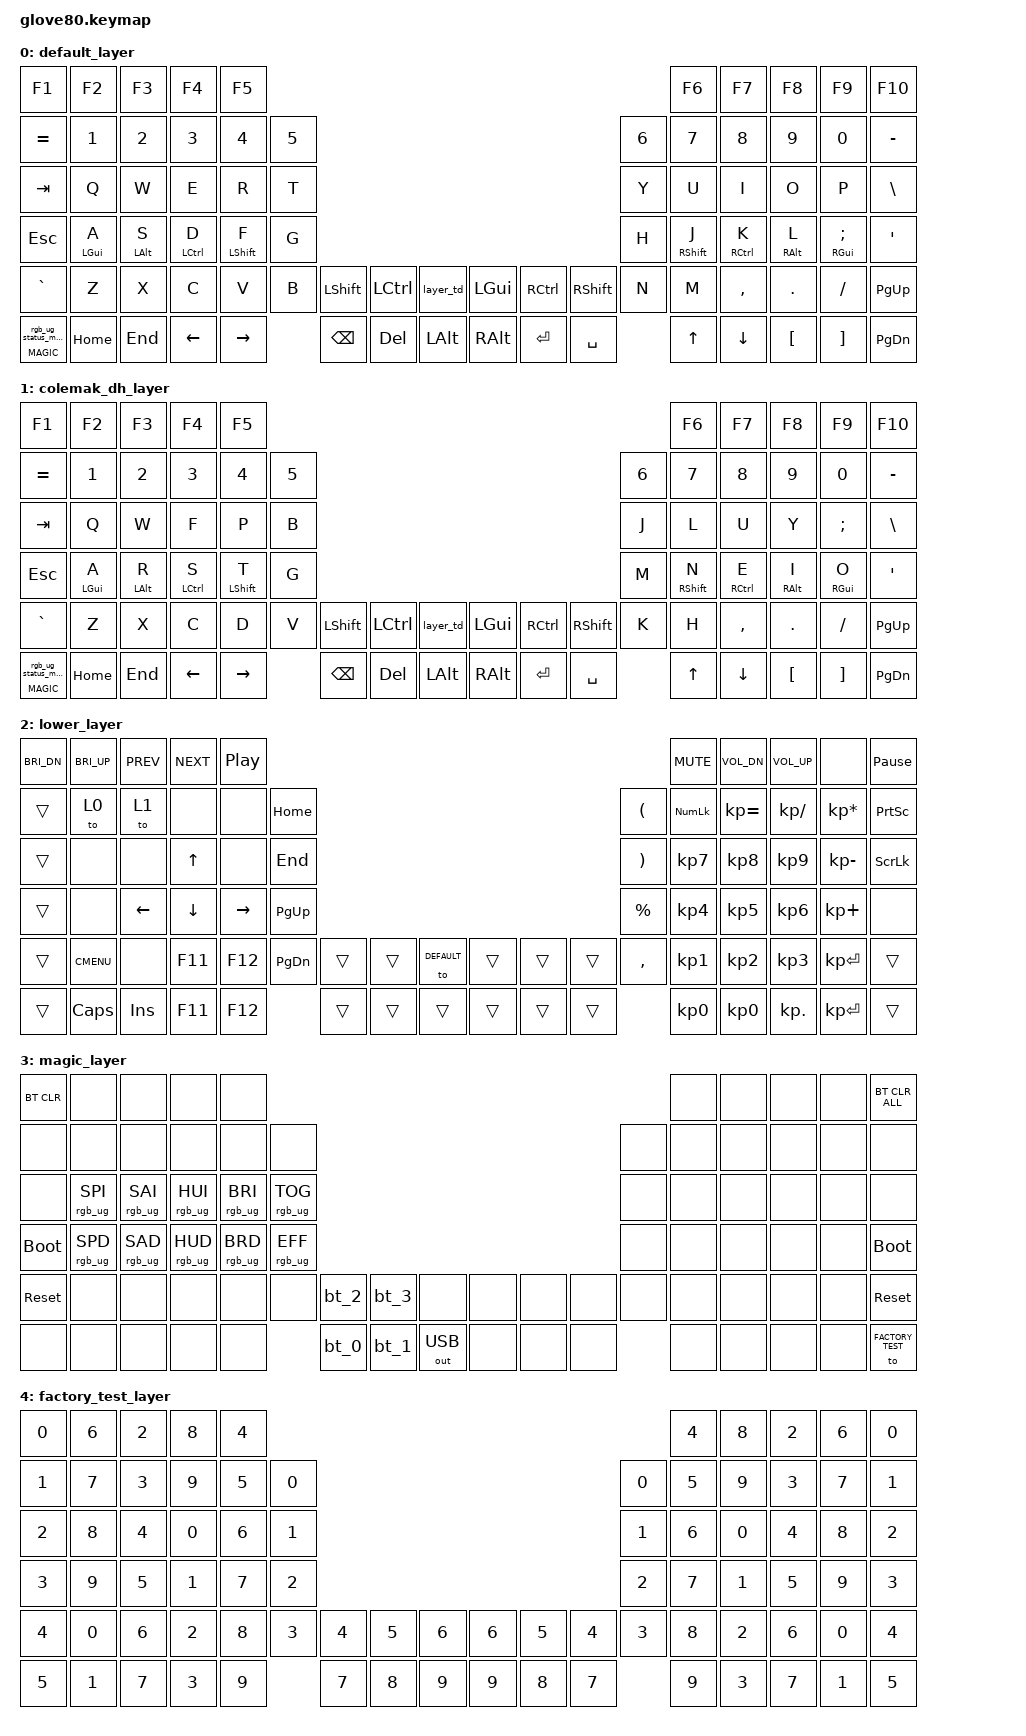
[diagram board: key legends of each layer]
/*
 * Copyright (c) 2020 The ZMK Contributors
 *
 * SPDX-License-Identifier: MIT
 */

#include <behaviors.dtsi>
#include <dt-bindings/zmk/keys.h>
#include <dt-bindings/zmk/bt.h>
#include <dt-bindings/zmk/ext_power.h>
#include <dt-bindings/zmk/outputs.h>
#include <dt-bindings/zmk/rgb.h>

#define HYPER LC(LS(LG(LALT)))

// layers
#define DEFAULT 0
#define COLEMAK_DH 1
#define LOWER 2
#define MAGIC 3
#define FACTORY_TEST 4

/ {
    behaviors {
        // For the "layer" key, it'd nice to be able to use it as either a shift or a toggle.
        // Configure it as a tap dance, so the first tap (or hold) is a &mo and the second tap is a &to
        layer_td: tap_dance_0 {
            compatible = "zmk,behavior-tap-dance";
            label = "LAYER_TAP_DANCE";
            #binding-cells = <0>;
            tapping-term-ms = <200>;
            bindings = <&mo LOWER>, <&to LOWER>;
        };

        magic: magic_hold_tap {
            compatible = "zmk,behavior-hold-tap";
            label = "MAGIC_HOLD_TAP";
            #binding-cells = <2>;
            flavor = "tap-preferred";
            tapping-term-ms = <200>;
            bindings = <&mo>, <&rgb_ug_status_macro>;
        };

        hrm: home_row_mods {
            compatible = "zmk,behavior-hold-tap";
            label = "HOME_ROW_MODS";
            #binding-cells = <2>;
            flavor = "balanced";
            tapping-term-ms = <200>;
            quick-tap-ms = <175>;
            require-prior-idle-ms = <125>;
            bindings = <&kp>, <&kp>;
        };
    };

    macros {
        rgb_ug_status_macro: rgb_ug_status_macro_0 {
            label = "RGB_UG_STATUS";
            compatible = "zmk,behavior-macro";
            #binding-cells = <0>;
            bindings
                = <&rgb_ug RGB_STATUS>;
        };

        bt_0: bt_profile_macro_0 {
            label = "BT_0";
            compatible = "zmk,behavior-macro";
            #binding-cells = <0>;
            bindings
                = <&out OUT_BLE>,
                  <&bt BT_SEL 0>;
        };

        bt_1: bt_profile_macro_1 {
            label = "BT_1";
            compatible = "zmk,behavior-macro";
            #binding-cells = <0>;
            bindings
                = <&out OUT_BLE>,
                  <&bt BT_SEL 1>;
        };

        bt_2: bt_profile_macro_2 {
            label = "BT_2";
            compatible = "zmk,behavior-macro";
            #binding-cells = <0>;
            bindings
                = <&out OUT_BLE>,
                  <&bt BT_SEL 2>;
        };

        bt_3: bt_profile_macro_3 {
            label = "BT_3";
            compatible = "zmk,behavior-macro";
            #binding-cells = <0>;
            bindings
                = <&out OUT_BLE>,
                  <&bt BT_SEL 3>;
        };
    };

    keymap {
        compatible = "zmk,keymap";

        default_layer {
            // ---------------------------------------------------------------------------------------------------------------------------------
            // |  F1   |  F2 |  F3 |  F4  |  F5  |                                                               |  F6   |  F7   |  F8  |   F9  |  F10 |
            // |  =    |  1  |  2  |  3   |  4   |  5   |                                                 |  6   |   7   |   8   |  9   |   0   |   -  |
            // |  TAB  |  Q  |  W  |  E   |  R   |  T   |                                                 |  Y   |   U   |   I   |  O   |   P   |   \  |
            // |  ESC  |  A  |  S  |  D   |  F   |  G   |                                                 |  H   |   J   |   K   |  L   |   ;   |   '  |
            // |   `   |  Z  |  X  |  C   |  V   |  B   | LSHFT | LCTRL | LOWER | | LGUI  | RCTRL | RSHFT |  N   |   M   |   ,   |  .   |   /   | PGUP |
            // | MAGIC | HOME| END | LEFT | RIGHT|      | BSPC  | DEL   | LALT  | | RALT  | RET   | SPACE |      |  UP   | DOWN  |  [   |   ]   | PGDN |

            bindings = <
            &kp F1         &kp F2      &kp F3      &kp F4       &kp F5                                                                                  &kp F6        &kp F7       &kp F8      &kp F9         &kp F10
            &kp EQUAL      &kp N1      &kp N2      &kp N3       &kp N4       &kp N5                                                             &kp N6  &kp N7        &kp N8       &kp N9      &kp N0         &kp MINUS
            &kp TAB        &kp Q       &kp W       &kp E        &kp R        &kp T                                                              &kp Y   &kp U         &kp I        &kp O       &kp P          &kp BSLH
            &kp ESC        &hrm LGUI A &hrm LALT S &hrm LCTRL D &hrm LSHFT F &kp G                                                              &kp H   &hrm RSHFT J  &hrm RCTRL K &hrm RALT L &hrm RGUI SEMI &kp SQT
            &kp GRAVE      &kp Z       &kp X       &kp C        &kp V        &kp B &kp LSHFT &kp LCTRL &layer_td   &kp LGUI &kp RCTRL &kp RSHFT &kp N   &kp M         &kp COMMA    &kp DOT     &kp FSLH       &kp PG_UP
            &magic MAGIC 0 &kp HOME    &kp END     &kp LEFT     &kp RIGHT          &kp BSPC  &kp DEL   &kp LALT    &kp RALT &kp RET   &kp SPACE         &kp UP        &kp DOWN     &kp LBKT    &kp RBKT       &kp PG_DN
            >;
        };
        
        colemak_dh_layer {
            bindings = <
            &kp F1         &kp F2      &kp F3      &kp F4       &kp F5                                                                                  &kp F6        &kp F7       &kp F8      &kp F9         &kp F10
            &kp EQUAL      &kp N1      &kp N2      &kp N3       &kp N4       &kp N5                                                             &kp N6  &kp N7        &kp N8       &kp N9      &kp N0         &kp MINUS
            &kp TAB        &kp Q       &kp W       &kp F        &kp P        &kp B                                                              &kp J   &kp L         &kp U        &kp Y       &kp SEMI       &kp BSLH
            &kp ESC        &hrm LGUI A &hrm LALT R &hrm LCTRL S &hrm LSHFT T &kp G                                                              &kp M   &hrm RSHFT N  &hrm RCTRL E &hrm RALT I &hrm RGUI O    &kp SQT
            &kp GRAVE      &kp Z       &kp X       &kp C        &kp D        &kp V &kp LSHFT &kp LCTRL &layer_td   &kp LGUI &kp RCTRL &kp RSHFT &kp K   &kp H         &kp COMMA    &kp DOT     &kp FSLH       &kp PG_UP
            &magic MAGIC 0 &kp HOME    &kp END     &kp LEFT     &kp RIGHT          &kp BSPC  &kp DEL   &kp LALT    &kp RALT &kp RET   &kp SPACE         &kp UP        &kp DOWN     &kp LBKT    &kp RBKT       &kp PG_DN
            >;           
        };

        lower_layer {
            bindings = <
            &kp C_BRI_DN      &kp C_BRI_UP        &kp C_PREV      &kp C_NEXT      &kp C_PP                                                                                                           &kp C_MUTE   &kp C_VOL_DN &kp C_VOL_UP  &none           &kp PAUSE_BREAK
            &trans            &to 0               &to 1           &none           &none           &kp HOME                                                                              &kp LPAR     &kp KP_NUM   &kp KP_EQUAL &kp KP_DIVIDE &kp KP_MULTIPLY &kp PSCRN
            &trans            &none               &none           &kp UP          &none           &kp END                                                                               &kp RPAR     &kp KP_N7    &kp KP_N8    &kp KP_N9     &kp KP_MINUS    &kp SLCK
            &trans            &none               &kp LEFT        &kp DOWN        &kp RIGHT       &kp PG_UP                                                                             &kp PRCNT    &kp KP_N4    &kp KP_N5    &kp KP_N6     &kp KP_PLUS     &none
            &trans            &kp K_CMENU         &none           &kp F11         &kp F12         &kp PG_DN       &trans      &trans      &to DEFAULT &trans      &trans      &trans    &kp COMMA    &kp KP_N1    &kp KP_N2    &kp KP_N3     &kp KP_ENTER    &trans
            &trans            &kp CAPS            &kp INS         &kp F11         &kp F12                         &trans      &trans      &trans      &trans      &trans      &trans                 &kp KP_N0    &kp KP_N0    &kp KP_DOT    &kp KP_ENTER    &trans
            >;
        };

        magic_layer {
            bindings = <
            &bt BT_CLR        &none               &none           &none           &none                                                                                                           &none      &none      &none      &none      &bt BT_CLR_ALL
            &none             &none               &none           &none           &none           &none                                                                                &none      &none      &none      &none      &none      &none
            &none             &rgb_ug RGB_SPI     &rgb_ug RGB_SAI &rgb_ug RGB_HUI &rgb_ug RGB_BRI &rgb_ug RGB_TOG                                                                      &none      &none      &none      &none      &none      &none
            &bootloader       &rgb_ug RGB_SPD     &rgb_ug RGB_SAD &rgb_ug RGB_HUD &rgb_ug RGB_BRD &rgb_ug RGB_EFF                                                                      &none      &none      &none      &none      &none      &bootloader
            &sys_reset        &none               &none           &none           &none           &none           &bt_2     &bt_3     &none            &none     &none     &none       &none      &none      &none      &none      &none      &sys_reset
            &none             &none               &none           &none           &none                           &bt_0     &bt_1     &out OUT_USB     &none     &none     &none                  &none      &none      &none      &none      &to FACTORY_TEST
            >;
        };



        factory_test_layer {
            bindings = <
            &kp N0   &kp N6   &kp N2   &kp N8   &kp N4                                                                              &kp N4   &kp N8   &kp N2   &kp N6   &kp N0
            &kp N1   &kp N7   &kp N3   &kp N9   &kp N5   &kp N0                                                            &kp N0   &kp N5   &kp N9   &kp N3   &kp N7   &kp N1
            &kp N2   &kp N8   &kp N4   &kp N0   &kp N6   &kp N1                                                            &kp N1   &kp N6   &kp N0   &kp N4   &kp N8   &kp N2
            &kp N3   &kp N9   &kp N5   &kp N1   &kp N7   &kp N2                                                            &kp N2   &kp N7   &kp N1   &kp N5   &kp N9   &kp N3
            &kp N4   &kp N0   &kp N6   &kp N2   &kp N8   &kp N3   &kp N4   &kp N5   &kp N6      &kp N6   &kp N5   &kp N4   &kp N3   &kp N8   &kp N2   &kp N6   &kp N0   &kp N4
            &kp N5   &kp N1   &kp N7   &kp N3   &kp N9            &kp N7   &kp N8   &kp N9      &kp N9   &kp N8   &kp N7            &kp N9   &kp N3   &kp N7   &kp N1   &kp N5
            >;
        };
    };
};
